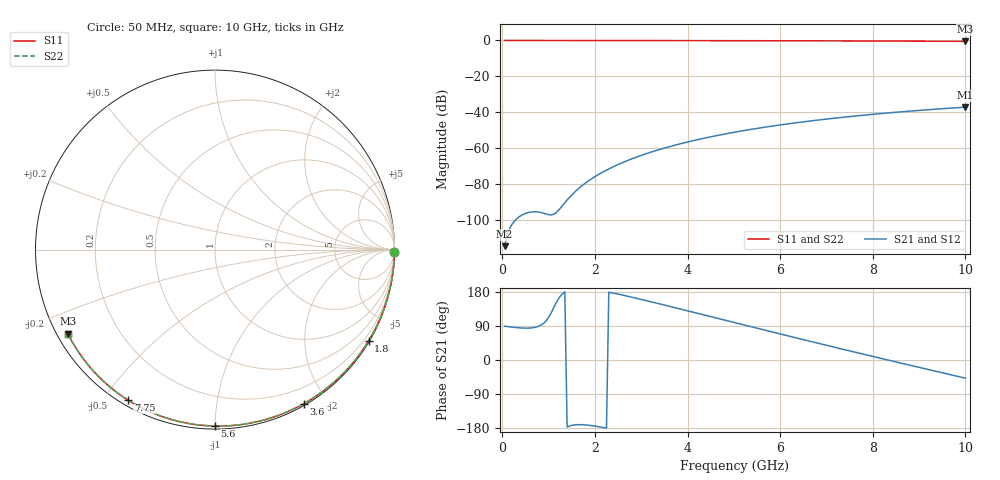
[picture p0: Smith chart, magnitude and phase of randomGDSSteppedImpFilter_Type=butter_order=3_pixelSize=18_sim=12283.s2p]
! freq	dB(S11)	phase(S11)	dB(S12)	phase(S12)
!  dB(S21)	phase(S21)	dB(S22)	phase(S22)
!S-par simulation data
#  GHz  S  DB  R 50
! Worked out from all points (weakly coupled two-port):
!   200 points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, 50 MHz to 10 GHz, reference 50 ohm
!   highest |S21| = -37.17 dB at 10 GHz (marker M1); lowest = -114.6 dB at 50 MHz (marker M2)
!   lowest |S11| = -0.5 dB at 10 GHz (marker M3), VSWR 34.77, Z = 1.54 - j13.3 ohm
!   |S11| at or under -10 dB: nowhere
!   |S22| runs from -0.5 to 0.0 dB; largest |S21 - S12| = 0
!   S11 on the Smith chart (normalised r, x): 50 MHz: open; 1.8 GHz: 0.03, -3.63; 3.6 GHz: 0.02, -1.73; 5.6 GHz: 0.02, -1.00; 7.75 GHz: 0.02, -0.58; 10 GHz: 0.03, -0.27
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0.05  -0.00 -0.9  -114.58 89.2  -114.58 89.2  -0.00 -0.9
0.45  -0.01 -7.8  -96.91 84.2  -96.91 84.2  -0.01 -7.8
0.85  -0.02 -14.7  -95.96 93.1  -95.96 93.1  -0.02 -14.7
1.3  -0.03 -22.4  -91.94 174.8  -91.94 174.8  -0.03 -22.4
1.75  -0.04 -29.9  -80.31 -171.0  -80.31 -171.0  -0.04 -29.9
1.8  -0.04 -30.8  -79.33 -171.4  -79.33 -171.4  -0.04 -30.8
1.95  -0.04 -33.3  -76.67 -173.5  -76.67 -173.5  -0.04 -33.3
2.1  -0.05 -35.8  -74.33 -176.3  -74.33 -176.3  -0.05 -35.8
2.3  -0.05 -39.1  -71.56 179.1  -71.56 179.1  -0.05 -39.1
2.5  -0.05 -42.4  -69.11 173.9  -69.11 173.9  -0.05 -42.4
2.9  -0.06 -48.9  -64.95 162.8  -64.95 162.8  -0.06 -48.9
3.4  -0.08 -56.8  -60.70 148.0  -60.70 148.0  -0.08 -56.8
3.6  -0.08 -60.0  -59.22 142.0  -59.22 142.0  -0.08 -60.0
4.3  -0.10 -70.8  -54.77 120.6  -54.77 120.6  -0.10 -70.8
5.05  -0.13 -82.0  -50.94 97.7  -50.94 97.7  -0.13 -82.0
5.6  -0.15 -90.0  -48.58 80.9  -48.58 80.9  -0.15 -90.0
6.15  -0.17 -97.9  -46.52 64.2  -46.52 64.2  -0.17 -97.9
6.7  -0.21 -105.5  -44.69 47.7  -44.69 47.7  -0.21 -105.5
7.75  -0.28 -119.9  -41.75 16.7  -41.75 16.7  -0.28 -119.9
8.35  -0.33 -127.9  -40.32 -0.8  -40.32 -0.8  -0.33 -127.9
9.2  -0.41 -139.3  -38.57 -25.2  -38.57 -25.2  -0.41 -139.4
10  -0.50 -150.2  -37.17 -47.9  -37.17 -47.9  -0.50 -150.2
